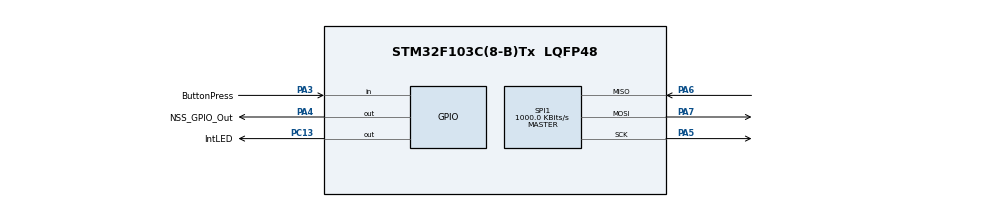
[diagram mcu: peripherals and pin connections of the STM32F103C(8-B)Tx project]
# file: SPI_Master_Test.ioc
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Mcu.Family=STM32F1
Mcu.Name=STM32F103C(8-B)Tx
Mcu.Package=LQFP48
NVIC.PriorityGroup=NVIC_PRIORITYGROUP_4
NVIC.TIM2_IRQn=true\:0\:0\:false\:false\:true\:false\:true
NVIC.TimeBase=TIM2_IRQn
NVIC.TimeBaseIP=TIM2
PA13.Mode=Serial_Wire
PA13.Signal=SYS_JTMS-SWDIO
PA14.Mode=Serial_Wire
PA14.Signal=SYS_JTCK-SWCLK
PA3.GPIO_Label=ButtonPress
PA3.GPIO_PuPd=GPIO_PULLUP
PA3.Signal=GPIO_Input
PA4.GPIO_Label=NSS_GPIO_Out
PA4.Signal=GPIO_Output
PA5.Mode=Full_Duplex_Master
PA5.Signal=SPI1_SCK
PA6.Mode=Full_Duplex_Master
PA6.Signal=SPI1_MISO
PA7.Mode=Full_Duplex_Master
PA7.Signal=SPI1_MOSI
PC13-TAMPER-RTC.GPIO_Label=IntLED
PC13-TAMPER-RTC.Signal=GPIO_Output
ProjectManager.HeapSize=0x200
ProjectManager.StackSize=0x400
ProjectManager.TargetToolchain=MDK-ARM V5.27
RCC.APB1Freq_Value=8000000
RCC.APB2Freq_Value=8000000
SPI1.BaudRatePrescaler=SPI_BAUDRATEPRESCALER_8
SPI1.CalculateBaudRate=1000.0 KBits/s
SPI1.Direction=SPI_DIRECTION_2LINES
SPI1.Mode=SPI_MODE_MASTER
SPI1.VirtualType=VM_MASTER
VP_SYS_VS_tim2.Mode=TIM2
board=custom

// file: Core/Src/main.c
/* USER CODE BEGIN Header */
/**
  ******************************************************************************
  * @file           : main.c
  * @brief          : Main program body
  ******************************************************************************
  * @attention
  *
  * <h2><center>&copy; Copyright (c) 2020 STMicroelectronics.
  * All rights reserved.</center></h2>
  *
  * This software component is licensed by ST under BSD 3-Clause license,
  * the "License"; You may not use this file except in compliance with the
  * License. You may obtain a copy of the License at:
  *                        opensource.org/licenses/BSD-3-Clause
  *
  ******************************************************************************
  */
/* USER CODE END Header */
#include "main.h"
#include "FloatIntConv.h"

SPI_HandleTypeDef hspi1;

// Global variables for light frequencies
uint8_t lightFreqHz1 = 1;
uint8_t lightFreqHz2 = 2;
uint8_t lightFreqHz3 = 3;
uint8_t lightFreqHz4 = 4;
/* For floating point
float lightFreqHz1 = 1;
float lightFreqHz2 = 2;
float lightFreqHz3 = 3;
float lightFreqHz4 = 4;
*/

/* USER CODE BEGIN PV */

// Surface SPI User Made Instructions (even parity)
//1. Write the LED frequencies
const uint8_t WriteLEDFreq_instr = 0x55;
//2. Assert a movement command, read if movement was successfull
const uint8_t AssertLeft_instr = 0x65;
const uint8_t AssertRight_instr = 0x66;
const uint8_t AssertMove3_instr = 0x69;
const uint8_t AssertMove4_instr = 0x6A;
//3. Commands send by MCU to indicate if movement was sent to wheelchair
const uint8_t AckYes = 0x95;
const uint8_t AckNo = 0x96;
/*
const uint8_t LED1WriteFreq_instr = 0x55;
const uint8_t LED2WriteFreq_instr = 0x56;
const uint8_t LED3WriteFreq_instr = 0x59;
const uint8_t LED4WriteFreq_instr = 0x5A;

const uint8_t LeftRead_instr = 0x65;
const uint8_t RightRead_instr = 0x66;
const uint8_t Move3Read_instr = 0x69;
const uint8_t Move4Read_instr = 0x6A;
*/

/* USER CODE END PV */

void SystemClock_Config(void);
static void MX_GPIO_Init(void);
static void MX_SPI1_Init(void);

int main(void)
{
  /* USER CODE BEGIN 1 */
	// Array that holds status of movement (1 = moving)
	uint8_t SPIMove[4];

	uint32_t globalDelay = 50;

	// Arrays that hold desired frequencies
	uint8_t SPI_LED[4];
	SPI_LED[0] = lightFreqHz1;
	SPI_LED[1] = lightFreqHz2;
	SPI_LED[2] = lightFreqHz3;
	SPI_LED[3] = lightFreqHz4;
	/* For floating point conversion (if needed)
	uint8_t SPI_LED1[4];
	uint8_t SPI_LED2[4];
	uint8_t SPI_LED3[4];
	uint8_t SPI_LED4[4];
	// Converts the float freq values to the IEEE 754 rep. (4-byte)
	// Note that SPI_LED is an array hence the lack of address reference, &
	float2int(&lightFreqHz1, SPI_LED1);
	float2int(&lightFreqHz2, SPI_LED2);
	float2int(&lightFreqHz3, SPI_LED3);
	float2int(&lightFreqHz4, SPI_LED4);
	*/

  /* USER CODE END 1 */

  /* MCU Configuration--------------------------------------------------------*/

  /* Reset of all peripherals, Initializes the Flash interface and the Systick. */
  HAL_Init();

  /* Configure the system clock */
  SystemClock_Config();

  /* Initialize all configured peripherals */
  MX_GPIO_Init();
  MX_SPI1_Init();

  /* USER CODE BEGIN 2 */
	// Deactivate the slave on startup
	HAL_GPIO_WritePin(NSS_GPIO_Out_GPIO_Port,NSS_GPIO_Out_Pin,GPIO_PIN_SET);
	HAL_Delay(10);
  /* USER CODE END 2 */

  /* Infinite loop */
  while (1)
  {

		/*
		// Testing if button press works
		if(HAL_GPIO_ReadPin(ButtonPress_GPIO_Port,ButtonPress_Pin) == GPIO_PIN_RESET)
		{
			HAL_GPIO_WritePin(IntLED_GPIO_Port,IntLED_Pin, GPIO_PIN_SET);
		}
		else
		{
			HAL_GPIO_WritePin(IntLED_GPIO_Port,IntLED_Pin, GPIO_PIN_RESET);
		}
		*/

		// Transmit SPI Instructions on a button press
		if(HAL_GPIO_ReadPin(ButtonPress_GPIO_Port,ButtonPress_Pin) == GPIO_PIN_RESET)
		{
			// Set internal LED high during SPI write/read operations
			HAL_GPIO_WritePin(IntLED_GPIO_Port,IntLED_Pin, GPIO_PIN_RESET);

			// Write Data
			//1. Pull SS Low - Activate
			HAL_GPIO_WritePin(NSS_GPIO_Out_GPIO_Port,NSS_GPIO_Out_Pin,GPIO_PIN_RESET);
			//2. Transmit write data instruction
			HAL_SPI_Transmit(&hspi1,(uint8_t *)&WriteLEDFreq_instr,1,globalDelay);
			//3. Write the data over the SPI bus
			HAL_SPI_Transmit(&hspi1,(uint8_t *)&SPI_LED,4,globalDelay);
			/* For floating point numbers
			HAL_SPI_Transmit(&hspi1,(uint8_t *)&SPI_LED1,4,globalDelay);
			HAL_SPI_Transmit(&hspi1,(uint8_t *)&SPI_LED2,4,globalDelay);
			HAL_SPI_Transmit(&hspi1,(uint8_t *)&SPI_LED3,4,globalDelay);
			HAL_SPI_Transmit(&hspi1,(uint8_t *)&SPI_LED4,4,globalDelay);
			*/
			//4. Pull SS High - Deactivate
			HAL_GPIO_WritePin(NSS_GPIO_Out_GPIO_Port,NSS_GPIO_Out_Pin,GPIO_PIN_SET);

			// Read Data (move left)
			//1. Pull SS Low - Activate
			HAL_GPIO_WritePin(NSS_GPIO_Out_GPIO_Port,NSS_GPIO_Out_Pin,GPIO_PIN_RESET);
			//2. Transmit move left assertion
			HAL_SPI_Transmit(&hspi1,(uint8_t *)&AssertLeft_instr,1,globalDelay);
			//3. Read the data to the SPIMove array
			HAL_SPI_Receive(&hspi1,(uint8_t *)SPIMove,1,globalDelay);
			//4. Pull SS High - Deactivate
			HAL_GPIO_WritePin(NSS_GPIO_Out_GPIO_Port,NSS_GPIO_Out_Pin,GPIO_PIN_SET);

			// Read Data (move right)
			//1. Pull SS Low - Activate
			HAL_GPIO_WritePin(NSS_GPIO_Out_GPIO_Port,NSS_GPIO_Out_Pin,GPIO_PIN_RESET);
			//2. Transmit move right assertion
			HAL_SPI_Transmit(&hspi1,(uint8_t *)&AssertRight_instr,1,globalDelay);
			//3. Read the data to the SPIMove array
			HAL_SPI_Receive(&hspi1,(uint8_t *)SPIMove,1,globalDelay);
			//4. Pull SS High - Deactivate
			HAL_GPIO_WritePin(NSS_GPIO_Out_GPIO_Port,NSS_GPIO_Out_Pin,GPIO_PIN_SET);

			// Read Data (move3)
			//1. Pull SS Low - Activate
			HAL_GPIO_WritePin(NSS_GPIO_Out_GPIO_Port,NSS_GPIO_Out_Pin,GPIO_PIN_RESET);
			//2. Transmit move right assertion
			HAL_SPI_Transmit(&hspi1,(uint8_t *)&AssertMove3_instr,1,globalDelay);
			//3. Read the data to the SPIMove array
			HAL_SPI_Receive(&hspi1,(uint8_t *)SPIMove,1,globalDelay);
			//4. Pull SS High - Deactivate
			HAL_GPIO_WritePin(NSS_GPIO_Out_GPIO_Port,NSS_GPIO_Out_Pin,GPIO_PIN_SET);

			// Arbitrary delay
			HAL_Delay(500);
			// Turn off SPI LED after SPI operations
			HAL_GPIO_WritePin(IntLED_GPIO_Port,IntLED_Pin, GPIO_PIN_SET);
		}

  }
}

void SystemClock_Config(void)
{
  RCC_OscInitTypeDef RCC_OscInitStruct = {0};
  RCC_ClkInitTypeDef RCC_ClkInitStruct = {0};

  /** Initializes the RCC Oscillators according to the specified parameters
  * in the RCC_OscInitTypeDef structure.
  */
  RCC_OscInitStruct.OscillatorType = RCC_OSCILLATORTYPE_HSI;
  RCC_OscInitStruct.HSIState = RCC_HSI_ON;
  RCC_OscInitStruct.HSICalibrationValue = RCC_HSICALIBRATION_DEFAULT;
  RCC_OscInitStruct.PLL.PLLState = RCC_PLL_NONE;
  if (HAL_RCC_OscConfig(&RCC_OscInitStruct) != HAL_OK)
  {
    Error_Handler();
  }
  /** Initializes the CPU, AHB and APB buses clocks
  */
  RCC_ClkInitStruct.ClockType = RCC_CLOCKTYPE_HCLK|RCC_CLOCKTYPE_SYSCLK
                              |RCC_CLOCKTYPE_PCLK1|RCC_CLOCKTYPE_PCLK2;
  RCC_ClkInitStruct.SYSCLKSource = RCC_SYSCLKSOURCE_HSI;
  RCC_ClkInitStruct.AHBCLKDivider = RCC_SYSCLK_DIV1;
  RCC_ClkInitStruct.APB1CLKDivider = RCC_HCLK_DIV1;
  RCC_ClkInitStruct.APB2CLKDivider = RCC_HCLK_DIV1;

  if (HAL_RCC_ClockConfig(&RCC_ClkInitStruct, FLASH_LATENCY_0) != HAL_OK)
  {
    Error_Handler();
  }
}

static void MX_SPI1_Init(void)
{

  /* SPI1 parameter configuration*/
  hspi1.Instance = SPI1;
  hspi1.Init.Mode = SPI_MODE_MASTER;
  hspi1.Init.Direction = SPI_DIRECTION_2LINES;
  hspi1.Init.DataSize = SPI_DATASIZE_8BIT;
  hspi1.Init.CLKPolarity = SPI_POLARITY_LOW;
  hspi1.Init.CLKPhase = SPI_PHASE_1EDGE;
  hspi1.Init.NSS = SPI_NSS_SOFT;
  hspi1.Init.BaudRatePrescaler = SPI_BAUDRATEPRESCALER_8;
  hspi1.Init.FirstBit = SPI_FIRSTBIT_MSB;
  hspi1.Init.TIMode = SPI_TIMODE_DISABLE;
  hspi1.Init.CRCCalculation = SPI_CRCCALCULATION_DISABLE;
  hspi1.Init.CRCPolynomial = 10;
  if (HAL_SPI_Init(&hspi1) != HAL_OK)
  {
    Error_Handler();
  }

}

static void MX_GPIO_Init(void)
{
  GPIO_InitTypeDef GPIO_InitStruct = {0};

  /* GPIO Ports Clock Enable */
  __HAL_RCC_GPIOC_CLK_ENABLE();
  __HAL_RCC_GPIOA_CLK_ENABLE();

  /*Configure GPIO pin Output Level */
  HAL_GPIO_WritePin(IntLED_GPIO_Port, IntLED_Pin, GPIO_PIN_RESET);

  /*Configure GPIO pin Output Level */
  HAL_GPIO_WritePin(NSS_GPIO_Out_GPIO_Port, NSS_GPIO_Out_Pin, GPIO_PIN_RESET);

  /*Configure GPIO pin : IntLED_Pin */
  GPIO_InitStruct.Pin = IntLED_Pin;
  GPIO_InitStruct.Mode = GPIO_MODE_OUTPUT_PP;
  GPIO_InitStruct.Pull = GPIO_NOPULL;
  GPIO_InitStruct.Speed = GPIO_SPEED_FREQ_LOW;
  HAL_GPIO_Init(IntLED_GPIO_Port, &GPIO_InitStruct);

  /*Configure GPIO pin : ButtonPress_Pin */
  GPIO_InitStruct.Pin = ButtonPress_Pin;
  GPIO_InitStruct.Mode = GPIO_MODE_INPUT;
  GPIO_InitStruct.Pull = GPIO_PULLUP;
  HAL_GPIO_Init(ButtonPress_GPIO_Port, &GPIO_InitStruct);

  /*Configure GPIO pin : NSS_GPIO_Out_Pin */
  GPIO_InitStruct.Pin = NSS_GPIO_Out_Pin;
  GPIO_InitStruct.Mode = GPIO_MODE_OUTPUT_PP;
  GPIO_InitStruct.Pull = GPIO_NOPULL;
  GPIO_InitStruct.Speed = GPIO_SPEED_FREQ_LOW;
  HAL_GPIO_Init(NSS_GPIO_Out_GPIO_Port, &GPIO_InitStruct);

}

void HAL_TIM_PeriodElapsedCallback(TIM_HandleTypeDef *htim)
{
  if (htim->Instance == TIM2) {
    HAL_IncTick();
  }
}

void Error_Handler(void)
{
}

/************************ (C) COPYRIGHT STMicroelectronics *****END OF FILE****/
